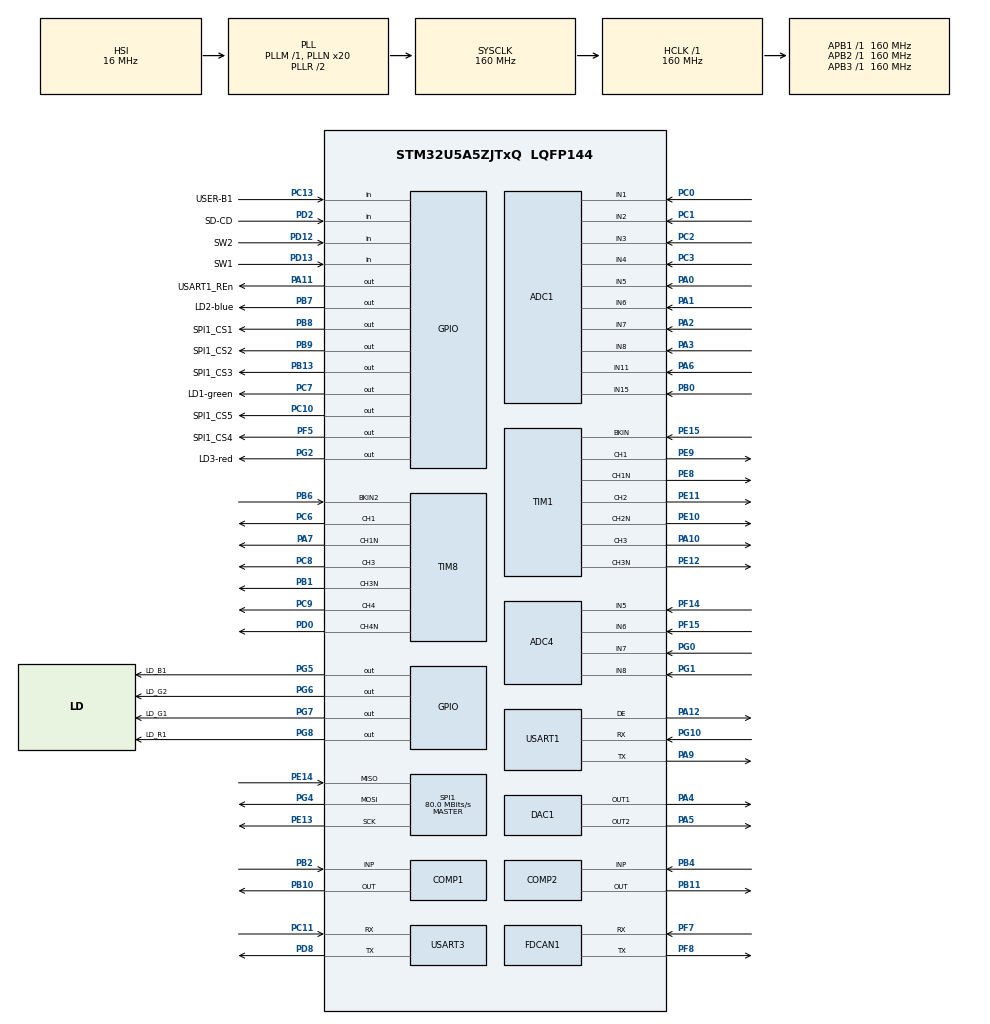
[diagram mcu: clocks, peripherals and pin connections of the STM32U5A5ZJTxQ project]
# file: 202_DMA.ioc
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ADC1.Channel-0\#ChannelRegularConversion=ADC_CHANNEL_1
ADC1.ContinuousConvMode=DISABLE
ADC1.ExternalTrigConv=ADC_EXTERNALTRIG_T3_TRGO
ADC1.MonitoredBy-0\#ChannelRegularConversion=__NULL
ADC1.NbrOfConversion=1
ADC1.NbrOfConversionFlag=1
ADC1.OffsetNumber-0\#ChannelRegularConversion=ADC_OFFSET_NONE
ADC1.Rank-0\#ChannelRegularConversion=1
ADC1.SamplingTime-0\#ChannelRegularConversion=ADC_SAMPLETIME_814CYCLES
ADC1.master=1
ADC4.Channel-0\#ChannelRegularConversion=ADC_CHANNEL_5
ADC4.NbrOfConversionFlag=1
ADC4.OffsetNumber-0\#ChannelRegularConversion=ADC_OFFSET_NONE
ADC4.Rank-0\#ChannelRegularConversion=1
ADC4.RankArg-0\#ChannelRegularConversion=ADC4_REGULAR_RANK_1
ADC4.SamplingTime-0\#ChannelRegularConversion=ADC4_SAMPLINGTIME_COMMON_1
ADC4.SelectedChannel=ADC_CHANNEL_5|ADC_CHANNEL_6|ADC_CHANNEL_7|ADC_CHANNEL_8
CORTEX_M33_NS.AccessPermission-Cortex_Memory_Protection_Unit_Region0_Settings=MPU_REGION_PRIV_RO
CORTEX_M33_NS.AllocateAttribute0=MPU_R_ALLOCATE
CORTEX_M33_NS.AllocateAttribute1=MPU_RW_ALLOCATE
CORTEX_M33_NS.Attributes0=MPU_ATTRIBUTES_NUMBER0
CORTEX_M33_NS.Attributes1=MPU_ATTRIBUTES_NUMBER1
CORTEX_M33_NS.AttributesIndex-Cortex_Memory_Protection_Unit_Region1_Settings=MPU_ATTRIBUTES_NUMBER1
CORTEX_M33_NS.BaseAddress-Cortex_Memory_Protection_Unit_Region0_Settings=0x08000000
CORTEX_M33_NS.BaseAddress-Cortex_Memory_Protection_Unit_Region1_Settings=0x20000000
CORTEX_M33_NS.CacheableAttribute1=MPU_WRITE_BACK
CORTEX_M33_NS.Enable-Cortex_Memory_Protection_Unit_Region0_Settings=MPU_REGION_ENABLE
CORTEX_M33_NS.Enable-Cortex_Memory_Protection_Unit_Region1_Settings=MPU_REGION_ENABLE
CORTEX_M33_NS.LimitAddress-Cortex_Memory_Protection_Unit_Region0_Settings=0x083FFFFF
CORTEX_M33_NS.LimitAddress-Cortex_Memory_Protection_Unit_Region1_Settings=0x2026FFFF
CORTEX_M33_NS.MPU_Control=MPU_PRIVILEGED_DEFAULT
CORTEX_M33_NS.Memorytype0=MPU_CACHEABLE
CORTEX_M33_NS.Memorytype1=MPU_CACHEABLE
CORTEX_M33_NS.Number-Cortex_Memory_Protection_Unit_Region0_Settings=MPU_REGION_NUMBER0
CORTEX_M33_NS.Number-Cortex_Memory_Protection_Unit_Region1_Settings=MPU_REGION_NUMBER1
CORTEX_M33_NS.userName=CORTEX_M33
DAC1.DAC_Channel-DAC_OUT1_ExtAndInt=DAC_CHANNEL_1
DAC1.DAC_Channel-DAC_OUT2_ExtAndInt=DAC_CHANNEL_2
FDCAN1.CalculateBaudRateNominal=3333333
FDCAN1.CalculateTimeBitNominal=300
FDCAN1.CalculateTimeQuantumNominal=100.0
FLASH.B1_BLOCK_active=true
FLASH.B1_endPage=255
FLASH.B2_BLOCK_active=true
FLASH.B2_Bank=FLASH_BANK_2
FLASH.B2_endPage=255
FLASH.OB_Boot_Configuration_active_NS0=true
FLASH.OB_NSBOOTADD0_Address=0x08000000
GTZC.MPCBB1_Area_Privilege_Size=0x000C0000
GTZC.MPCBB1_SecConfig_array=00000000\:00000000\:00000000\:00000000\:00000000\:00000000\:00000000\:00000000\:00000000\:00000000\:00000000\:00000000\:00000000\:00000000\:00000000\:00000000\:00000000\:00000000\:00000000\:00000000\:00000000\:00000000\:00000000\:00000000\:00000000\:00000000\:00000000\:00000000\:00000000\:00000000\:00000000\:00000000\:00000000\:00000000\:00000000\:00000000\:00000000\:00000000\:00000000\:00000000\:00000000\:00000000\:00000000\:00000000\:00000000\:00000000\:00000000\:00000000
GTZC.MPCBB2_Area_Privilege_Size=0x00010000
GTZC.MPCBB2_PrivConfig_array=FFFFFFFF\:FFFFFFFF\:FFFFFFFF\:FFFFFFFF\:00000000\:00000000\:00000000\:00000000\:00000000\:00000000\:00000000\:00000000\:00000000\:00000000\:00000000\:00000000\:00000000\:00000000\:00000000\:00000000\:00000000\:00000000\:00000000\:00000000\:00000000\:00000000\:00000000\:00000000\:00000000\:00000000\:00000000\:00000000\:00000000\:00000000\:00000000\:00000000\:00000000\:00000000\:00000000\:00000000\:00000000\:00000000\:00000000\:00000000\:00000000\:00000000\:00000000\:00000000\:00000000\:00000000\:00000000\:00000000
GTZC.MPCBB2_SecConfig_array=00000000\:00000000\:00000000\:00000000\:00000000\:00000000\:00000000\:00000000\:00000000\:00000000\:00000000\:00000000\:00000000\:00000000\:00000000\:00000000\:00000000\:00000000\:00000000\:00000000\:00000000\:00000000\:00000000\:00000000\:00000000\:00000000\:00000000\:00000000\:00000000\:00000000\:00000000\:00000000\:00000000\:00000000\:00000000\:00000000\:00000000\:00000000\:00000000\:00000000\:00000000\:00000000\:00000000\:00000000\:00000000\:00000000\:00000000\:00000000\:00000000\:00000000\:00000000\:00000000
GTZC.MPCBB3_Area_Privilege_Size=0x000D0000
GTZC.MPCBB3_SecConfig_array=00000000\:00000000\:00000000\:00000000\:00000000\:00000000\:00000000\:00000000\:00000000\:00000000\:00000000\:00000000\:00000000\:00000000\:00000000\:00000000\:00000000\:00000000\:00000000\:00000000\:00000000\:00000000\:00000000\:00000000\:00000000\:00000000\:00000000\:00000000\:00000000\:00000000\:00000000\:00000000\:00000000\:00000000\:00000000\:00000000\:00000000\:00000000\:00000000\:00000000\:00000000\:00000000\:00000000\:00000000\:00000000\:00000000\:00000000\:00000000\:00000000\:00000000\:00000000\:00000000
GTZC.MPCBB4_PrivConfig_array=00000000
GTZC.MPCBB4_SecConfig_array=00000000
GTZC.MPCBB5_Area_Privilege_Size=0x000D0000
GTZC.MPCBB5_SecConfig_array=00000000\:00000000\:00000000\:00000000\:00000000\:00000000\:00000000\:00000000\:00000000\:00000000\:00000000\:00000000\:00000000\:00000000\:00000000\:00000000\:00000000\:00000000\:00000000\:00000000\:00000000\:00000000\:00000000\:00000000\:00000000\:00000000\:00000000\:00000000\:00000000\:00000000\:00000000\:00000000\:00000000\:00000000\:00000000\:00000000\:00000000\:00000000\:00000000\:00000000\:00000000\:00000000\:00000000\:00000000\:00000000\:00000000\:00000000\:00000000\:00000000\:00000000\:00000000\:00000000
Mcu.Family=STM32U5
Mcu.Name=STM32U5A5ZJTxQ
Mcu.Package=LQFP144
NVIC.ADC1_2_IRQn=true\:0\:0\:false\:false\:true\:true\:true\:true
NVIC.PriorityGroup=NVIC_PRIORITYGROUP_4
PA0.Mode=IN5-Single-Ended
PA0.Signal=ADC1_IN5
PA1.Mode=IN6-Single-Ended
PA1.Signal=ADC1_IN6
PA10.Signal=S_TIM1_CH3
PA11.GPIO_Label=USART1_REn
PA11.Signal=GPIO_Output
PA12.Mode=Hardware Flow Control (RS485)
PA12.Signal=USART1_DE
PA13\ (JTMS/SWDIO).Mode=Trace_Asynchronous_SW
PA13\ (JTMS/SWDIO).Signal=DEBUG_JTMS-SWDIO
PA14\ (JTCK/SWCLK).Mode=Trace_Asynchronous_SW
PA14\ (JTCK/SWCLK).Signal=DEBUG_JTCK-SWCLK
PA2.Mode=IN7-Single-Ended
PA2.Signal=ADC1_IN7
PA3.Mode=IN8-Single-Ended
PA3.Signal=ADC1_IN8
PA4.Signal=COMP_DAC11_group
PA5.Signal=COMP_DAC12_group
PA6.Mode=IN11-Single-Ended
PA6.Signal=ADC1_IN11
PA7.Mode=PWM Generation1 CH1 CH1N
PA7.Signal=TIM8_CH1N
PA9.Mode=Asynchronous
PA9.Signal=USART1_TX
PB0.Mode=IN15-Single-Ended
PB0.Signal=ADC1_IN15
PB1.Mode=PWM Generation3 CH3 CH3N
PB1.Signal=TIM8_CH3N
PB10.Mode=ExternalOutput
PB10.Signal=COMP1_OUT
PB11.Mode=ExternalOutput
PB11.Signal=COMP2_OUT
PB13.GPIO_Label=SPI1_CS3
PB13.Signal=GPIO_Output
PB2.Mode=INP
PB2.Signal=COMP1_INP
PB3\ (JTDO/TRACESWO).Mode=Trace_Asynchronous_SW
PB3\ (JTDO/TRACESWO).Signal=DEBUG_JTDO-SWO
PB4\ (NJTRST).Mode=INP
PB4\ (NJTRST).Signal=COMP2_INP
PB6.Mode=Activate-Break-Input-2
PB6.Signal=TIM8_BKIN2
PB7.GPIO_Label=LD2-blue
PB7.Signal=GPIO_Output
PB8.GPIO_Label=SPI1_CS1
PB8.Signal=GPIO_Output
PB9.GPIO_Label=SPI1_CS2
PB9.Signal=GPIO_Output
PC0.Mode=IN1-Single-Ended
PC0.Signal=ADC1_IN1
PC1.Mode=IN2-Single-Ended
PC1.Signal=ADC1_IN2
PC10.GPIO_Label=SPI1_CS5
PC10.Signal=GPIO_Output
PC11.Mode=Asynchronous
PC11.Signal=USART3_RX
PC13.GPIO_Label=USER-B1
PC13.Signal=GPIO_Input
PC14-OSC32_IN\ (PC14).Mode=LSE-External-Oscillator
PC14-OSC32_IN\ (PC14).Signal=RCC_OSC32_IN
PC15-OSC32_OUT\ (PC15).Mode=LSE-External-Oscillator
PC15-OSC32_OUT\ (PC15).Signal=RCC_OSC32_OUT
PC2.Mode=IN3-Single-Ended
PC2.Signal=ADC1_IN3
PC3.Mode=IN4-Single-Ended
PC3.Signal=ADC1_IN4
PC6.Signal=S_TIM8_CH1
PC7.GPIO_Label=LD1-green
PC7.Signal=GPIO_Output
PC8.Signal=S_TIM8_CH3
PC9.Signal=S_TIM8_CH4
PD0.Mode=PWM Generation4 CH4 CH4N
PD0.Signal=TIM8_CH4N
PD12.GPIO_Label=SW2
PD12.Signal=GPIO_Input
PD13.GPIO_Label=SW1
PD13.Signal=GPIO_Input
PD2.GPIO_Label=SD-CD
PD2.Signal=GPIO_Input
PD8.Mode=Asynchronous
PD8.Signal=USART3_TX
PE10.Mode=PWM Generation2 CH2 CH2N
PE10.Signal=TIM1_CH2N
PE11.Signal=S_TIM1_CH2
PE12.Mode=PWM Generation3 CH3 CH3N
PE12.Signal=TIM1_CH3N
PE13.Mode=Full_Duplex_Master
PE13.Signal=SPI1_SCK
PE14.Mode=Full_Duplex_Master
PE14.Signal=SPI1_MISO
PE15.Mode=Activate-Break-Input
PE15.Signal=TIM1_BKIN
PE8.Mode=PWM Generation1 CH1 CH1N
PE8.Signal=TIM1_CH1N
PE9.Signal=S_TIM1_CH1
PF14.Mode=IN5
PF14.Signal=ADC4_IN5
PF15.Mode=IN6
PF15.Signal=ADC4_IN6
PF5.GPIO_Label=SPI1_CS4
PF5.Signal=GPIO_Output
PF7.Mode=FDCAN_Activate
PF7.Signal=FDCAN1_RX
PF8.Mode=FDCAN_Activate
PF8.Signal=FDCAN1_TX
PG0.Mode=IN7
PG0.Signal=ADC4_IN7
PG1.Mode=IN8
PG1.Signal=ADC4_IN8
PG10.Mode=Asynchronous
PG10.Signal=USART1_RX
PG2.GPIO_Label=LD3-red
PG2.Signal=GPIO_Output
PG4.Mode=Full_Duplex_Master
PG4.Signal=SPI1_MOSI
PG5.GPIO_Label=LD_B1
PG5.Signal=GPIO_Output
PG6.GPIO_Label=LD_G2
PG6.Signal=GPIO_Output
PG7.GPIO_Label=LD_G1
PG7.Signal=GPIO_Output
PG8.GPIO_Label=LD_R1
PG8.Signal=GPIO_Output
PWR.PowerMode=PWR_SMPS_SUPPLY
ProjectManager.HeapSize=0x2000
ProjectManager.StackSize=0x10000
ProjectManager.TargetToolchain=STM32CubeIDE
RCC.ADCFreq_Value=16000000
RCC.AHBFreq_Value=160000000
RCC.APB1Freq_Value=160000000
RCC.APB1TimFreq_Value=160000000
RCC.APB2Freq_Value=160000000
RCC.APB2TimFreq_Value=160000000
RCC.APB3Freq_Value=160000000
RCC.CortexFreq_Value=160000000
RCC.DACCLockSelectionVirtual=RCC_DAC1CLKSOURCE_LSI
RCC.EPOD_VALUE=16000000
RCC.HCLKFreq_Value=160000000
RCC.HSE_VALUE=16000000
RCC.HSI48_VALUE=48000000
RCC.HSI_VALUE=16000000
RCC.LSIDIV_VALUE=32000
RCC.MSIClockRange=RCC_MSIRANGE_0
RCC.MSI_VALUE=48000000
RCC.PLLFRACN=0
RCC.PLLN=20
RCC.PLLSourceVirtual=RCC_PLLSOURCE_HSI
RCC.SYSCLKFreq_VALUE=160000000
RCC.SYSCLKSource=RCC_SYSCLKSOURCE_PLLCLK
RCC.USBPHYCLockSelection=RCC_USBPHYCLKSOURCE_HSE
RCC.VCOOutputFreq_Value=320000000
SH.COMP_DAC11_group.0=DAC1_OUT1,DAC_OUT1_ExtAndInt
SH.COMP_DAC12_group.0=DAC1_OUT2,DAC_OUT2_ExtAndInt
SH.S_TIM1_CH1.0=TIM1_CH1,PWM Generation1 CH1 CH1N
SH.S_TIM1_CH2.0=TIM1_CH2,PWM Generation2 CH2 CH2N
SH.S_TIM1_CH3.0=TIM1_CH3,PWM Generation3 CH3 CH3N
SH.S_TIM8_CH1.0=TIM8_CH1,PWM Generation1 CH1 CH1N
SH.S_TIM8_CH3.0=TIM8_CH3,PWM Generation3 CH3 CH3N
SH.S_TIM8_CH4.0=TIM8_CH4,PWM Generation4 CH4 CH4N
SPI1.CalculateBaudRate=80.0 MBits/s
SPI1.Direction=SPI_DIRECTION_2LINES
SPI1.Mode=SPI_MODE_MASTER
SPI1.VirtualType=VM_MASTER
STMicroelectronics.X-CUBE-ALGOBUILD.1.4.0.LibraryCcDSPOoLibraryJjDSPOoLibrary=true
TIM1.Channel-PWM\ Generation1\ CH1\ CH1N=TIM_CHANNEL_1
TIM1.Channel-PWM\ Generation2\ CH2\ CH2N=TIM_CHANNEL_2
TIM1.Channel-PWM\ Generation3\ CH3\ CH3N=TIM_CHANNEL_3
TIM1.SourceBRK2COMP1=TIM_BREAKINPUTSOURCE_DISABLE
TIM1.SourceBRKCOMP1=TIM_BREAKINPUTSOURCE_ENABLE
TIM3.Channel-Output\ Compare1\ No\ Output=TIM_CHANNEL_1
TIM3.PeriodNoDither=39999
TIM3.TIM_MasterOutputTrigger=TIM_TRGO_UPDATE
TIM8.AutomaticOutput=TIM_AUTOMATICOUTPUT_DISABLE
TIM8.Channel-PWM\ Generation1\ CH1\ CH1N=TIM_CHANNEL_1
TIM8.Channel-PWM\ Generation3\ CH3\ CH3N=TIM_CHANNEL_3
TIM8.Channel-PWM\ Generation4\ CH4\ CH4N=TIM_CHANNEL_4
TIM8.SourceBRK2COMP2=TIM_BREAKINPUTSOURCE_ENABLE
TIM8.SourceBRKCOMP2=TIM_BREAKINPUTSOURCE_ENABLE
USART1.VirtualMode-Asynchronous=VM_ASYNC
USART1.VirtualMode-Hardware\ Flow\ Control\ (RS485)=VM_ASYNC
USART3.VirtualMode-Asynchronous=VM_ASYNC
VP_COMP1_VS_DACOUT1.Mode=INM_DACOUT1
VP_COMP2_VS_DACOUT2.Mode=INM_DACOUT2
VP_FLASH_SIG_Activate_FlashIP.Mode=Activate_FlashIP
VP_GTZC_VS_GTZC_Enable.Mode=GTZC_Enable
VP_ICACHE_VS_ICACHE.Mode=DirectMappedCache
VP_LPBAMQUEUE_VS_QUEUE.Mode=QUEUEMODE
VP_MEMORYMAP_VS_MEMORYMAP.Mode=CurAppReg
VP_PWR_VS_DBSignals.Mode=DisableDeadBatterySignals
VP_PWR_VS_LPOM.Mode=PowerOptimisation
VP_PWR_VS_SECSignals.Mode=Security/Privilege
VP_PWR_Vdda.Mode=isolationVdda
VP_STMicroelectronics.X-CUBE-ALGOBUILD_VS_DSPOoLibraryJjLibrary_1.4.0_1.4.0.Mode=DSPOoLibraryJjLibrary
VP_TIM1_VS_ClockSourceINT.Mode=Internal
VP_TIM3_VS_ClockSourceINT.Mode=Internal
VP_TIM3_VS_no_output1.Mode=Output Compare1 No Output
board=NUCLEO-U5A5ZJ-Q

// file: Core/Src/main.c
/* USER CODE BEGIN Header */
/**
  ******************************************************************************
  * @file           : main.c
  * @brief          : Main program body
  ******************************************************************************
  * @attention
  *
  * Mit diesem Programm können 3 Varianten von Fourier Transfromationen gerechnet werden.
  * Der Zeitvektor wird dabei mit Matlab generiert und in der Datei input.h definiert.
  * 1. Mit der CMSIS-DSP Bibliothek von STM32, die Funktion heisst arm_rfft_fast_f32().
  *	   Diese Variante ist auf 4096 Samples beschränkt (vgl. Dokumentation).
  * 2. Eine Diskrete Fourier Transformation gemäss KomFour Skript Seite 113 dft().
  *    Idealerweise bis 512 Samples, da die DFT sonst sehr lange dauert.
  * 3. Eine Fast Fourier Transformation gemäss KomFour Skript Seite 114 fft().
  *    Mit dieser Variante können auch 65536 Samples in 30 s gerechnet werden.
  *
  ******************************************************************************
  */
/* USER CODE END Header */
#include "main.h"
#include "adc.h"
#include "comp.h"
#include "dac.h"
#include "fdcan.h"
#include "flash.h"
#include "gtzc.h"
#include "icache.h"
#include "spi.h"
#include "tim.h"
#include "usart.h"
#include "gpio.h"

/* USER CODE BEGIN Includes */
// FFT
#include <stdio.h>
#include <stdlib.h>
#include <math.h>
#include "arm_math.h"
#include "complex.h"
#include "input.h"
#include "fft.h"
/* USER CODE END Includes */

/* USER CODE BEGIN PD */
#define N 65536	// Muss 2^N sein!
uint16_t ADC_VAL = 0;
float voltage = 0;
/* USER CODE END PD */

/* USER CODE BEGIN PV */
// Globale Variablen
float x[N];
Complex c[N];
/* USER CODE END PV */

void SystemClock_Config(void);
static void SystemPower_Config(void);
static void MPU_Config(void);

/* USER CODE BEGIN 0 */
void HAL_ADC_ConvCpltCallback(ADC_HandleTypeDef *hadc)
{
  /* Prevent unused argument(s) compilation warning */
  UNUSED(hadc);

  // GPIO Toggle

}
/* USER CODE END 0 */

int main(void)
{

  /* MCU Configuration--------------------------------------------------------*/

  /* MPU Configuration--------------------------------------------------------*/
  MPU_Config();

  /* Reset of all peripherals, Initializes the Flash interface and the Systick. */
  HAL_Init();

  /* Configure the System Power */
  SystemPower_Config();

  /* Configure the system clock */
  SystemClock_Config();
  /* GTZC initialisation */
  MX_GTZC_Init();

  /* Initialize all configured peripherals */
  MX_GPIO_Init();
  MX_ICACHE_Init();
  MX_FLASH_Init();
  MX_ADC1_Init();
  MX_ADC4_Init();
  MX_COMP1_Init();
  MX_COMP2_Init();
  MX_DAC1_Init();
  MX_FDCAN1_Init();
  MX_SPI1_Init();
  MX_TIM1_Init();
  MX_TIM8_Init();
  MX_USART1_UART_Init();
  MX_USART3_UART_Init();
  MX_TIM3_Init();
  /* USER CODE BEGIN 2 */
  printf("Start Monitoringsystem!\r\n");
  /* USER CODE END 2 */

  /* Infinite loop */
  /* USER CODE BEGIN WHILE */
  while (1)
  {
	  // Grüne LED
	  HAL_GPIO_TogglePin(LD1_green_GPIO_Port, LD1_green_Pin);

	  // FFT
	  /*printf("Start FFT\n");
	  make_complex(x, c, (int)N);
	  fft(c, (int)N);
	  scale(c, (int)N);
	  abs_val(c, (int)N);*/

	  // ADC
	  HAL_ADC_Start(&hadc1);
	  if (HAL_ADC_PollForConversion(&hadc1, 100) == HAL_OK)
	  {
	      ADC_VAL = HAL_ADC_GetValue(&hadc1);
	  }
	  HAL_ADC_Stop(&hadc1);

	  // Konsole
	  voltage = (ADC_VAL/16383.0)*3.3;
	  printf("ADC Value: %.2f\r\n", voltage);

	  // Delay
	  HAL_Delay(200);

    /* USER CODE END WHILE */

  }
}

void SystemClock_Config(void)
{
  RCC_OscInitTypeDef RCC_OscInitStruct = {0};
  RCC_ClkInitTypeDef RCC_ClkInitStruct = {0};

  /** Configure the main internal regulator output voltage
  */
  if (HAL_PWREx_ControlVoltageScaling(PWR_REGULATOR_VOLTAGE_SCALE1) != HAL_OK)
  {
    Error_Handler();
  }

  /** Initializes the CPU, AHB and APB buses clocks
  */
  RCC_OscInitStruct.OscillatorType = RCC_OSCILLATORTYPE_HSI|RCC_OSCILLATORTYPE_LSI;
  RCC_OscInitStruct.HSIState = RCC_HSI_ON;
  RCC_OscInitStruct.HSICalibrationValue = RCC_HSICALIBRATION_DEFAULT;
  RCC_OscInitStruct.LSIState = RCC_LSI_ON;
  RCC_OscInitStruct.LSIDiv = RCC_LSI_DIV1;
  RCC_OscInitStruct.PLL.PLLState = RCC_PLL_ON;
  RCC_OscInitStruct.PLL.PLLSource = RCC_PLLSOURCE_HSI;
  RCC_OscInitStruct.PLL.PLLMBOOST = RCC_PLLMBOOST_DIV1;
  RCC_OscInitStruct.PLL.PLLM = 1;
  RCC_OscInitStruct.PLL.PLLN = 20;
  RCC_OscInitStruct.PLL.PLLP = 2;
  RCC_OscInitStruct.PLL.PLLQ = 2;
  RCC_OscInitStruct.PLL.PLLR = 2;
  RCC_OscInitStruct.PLL.PLLRGE = RCC_PLLVCIRANGE_1;
  RCC_OscInitStruct.PLL.PLLFRACN = 0;
  if (HAL_RCC_OscConfig(&RCC_OscInitStruct) != HAL_OK)
  {
    Error_Handler();
  }

  /** Initializes the CPU, AHB and APB buses clocks
  */
  RCC_ClkInitStruct.ClockType = RCC_CLOCKTYPE_HCLK|RCC_CLOCKTYPE_SYSCLK
                              |RCC_CLOCKTYPE_PCLK1|RCC_CLOCKTYPE_PCLK2
                              |RCC_CLOCKTYPE_PCLK3;
  RCC_ClkInitStruct.SYSCLKSource = RCC_SYSCLKSOURCE_PLLCLK;
  RCC_ClkInitStruct.AHBCLKDivider = RCC_SYSCLK_DIV1;
  RCC_ClkInitStruct.APB1CLKDivider = RCC_HCLK_DIV1;
  RCC_ClkInitStruct.APB2CLKDivider = RCC_HCLK_DIV1;
  RCC_ClkInitStruct.APB3CLKDivider = RCC_HCLK_DIV1;

  if (HAL_RCC_ClockConfig(&RCC_ClkInitStruct, FLASH_LATENCY_4) != HAL_OK)
  {
    Error_Handler();
  }
}

/**
  * @brief Power Configuration
  * @retval None
  */
static void SystemPower_Config(void)
{
  HAL_PWREx_EnableVddIO2();

  /*
   * Disable the internal Pull-Up in Dead Battery pins of UCPD peripheral
   */
  HAL_PWREx_DisableUCPDDeadBattery();

  /*
   * Switch to SMPS regulator instead of LDO
   */
  if (HAL_PWREx_ConfigSupply(PWR_SMPS_SUPPLY) != HAL_OK)
  {
    Error_Handler();
  }
}

/* USER CODE BEGIN 4 */
int _write(int file, char *ptr, int len)
{
  (void)file;
  int DataIdx;

  for (DataIdx = 0; DataIdx < len; DataIdx++)
  {
    ITM_SendChar(*ptr++);
  }
  return len;
}
/* USER CODE END 4 */

 /* MPU Configuration */

void MPU_Config(void)
{
  MPU_Region_InitTypeDef MPU_InitStruct = {0};
  MPU_Attributes_InitTypeDef MPU_AttributesInit = {0};

  /* Disables the MPU */
  HAL_MPU_Disable();

  /** Initializes and configures the Region 0 and the memory to be protected
  */
  MPU_InitStruct.Enable = MPU_REGION_ENABLE;
  MPU_InitStruct.Number = MPU_REGION_NUMBER0;
  MPU_InitStruct.BaseAddress = 0x08000000;
  MPU_InitStruct.LimitAddress = 0x083FFFFF;
  MPU_InitStruct.AttributesIndex = MPU_ATTRIBUTES_NUMBER0;
  MPU_InitStruct.AccessPermission = MPU_REGION_PRIV_RO;
  MPU_InitStruct.DisableExec = MPU_INSTRUCTION_ACCESS_ENABLE;
  MPU_InitStruct.IsShareable = MPU_ACCESS_NOT_SHAREABLE;

  HAL_MPU_ConfigRegion(&MPU_InitStruct);

  /** Initializes and configures the Region 1 and the memory to be protected
  */
  MPU_InitStruct.Number = MPU_REGION_NUMBER1;
  MPU_InitStruct.BaseAddress = 0x20000000;
  MPU_InitStruct.LimitAddress = 0x2026FFFF;
  MPU_InitStruct.AttributesIndex = MPU_ATTRIBUTES_NUMBER1;
  MPU_InitStruct.AccessPermission = MPU_REGION_PRIV_RW;

  HAL_MPU_ConfigRegion(&MPU_InitStruct);

  /** Initializes and configures the Attribute 0 and the memory to be protected
  */
  MPU_AttributesInit.Number = MPU_ATTRIBUTES_NUMBER0;
  MPU_AttributesInit.Attributes = INNER_OUTER(MPU_WRITE_THROUGH|MPU_TRANSIENT
                              |MPU_R_ALLOCATE);

  HAL_MPU_ConfigMemoryAttributes(&MPU_AttributesInit);

  /** Initializes and configures the Attribute 1 and the memory to be protected
  */
  MPU_AttributesInit.Number = MPU_ATTRIBUTES_NUMBER1;
  MPU_AttributesInit.Attributes = INNER_OUTER(MPU_WRITE_BACK|MPU_TRANSIENT
                              |MPU_RW_ALLOCATE);

  HAL_MPU_ConfigMemoryAttributes(&MPU_AttributesInit);
  /* Enables the MPU */
  HAL_MPU_Enable(MPU_PRIVILEGED_DEFAULT);

}

void Error_Handler(void)
{
  __disable_irq();
  while (1)
  {
  }
}
